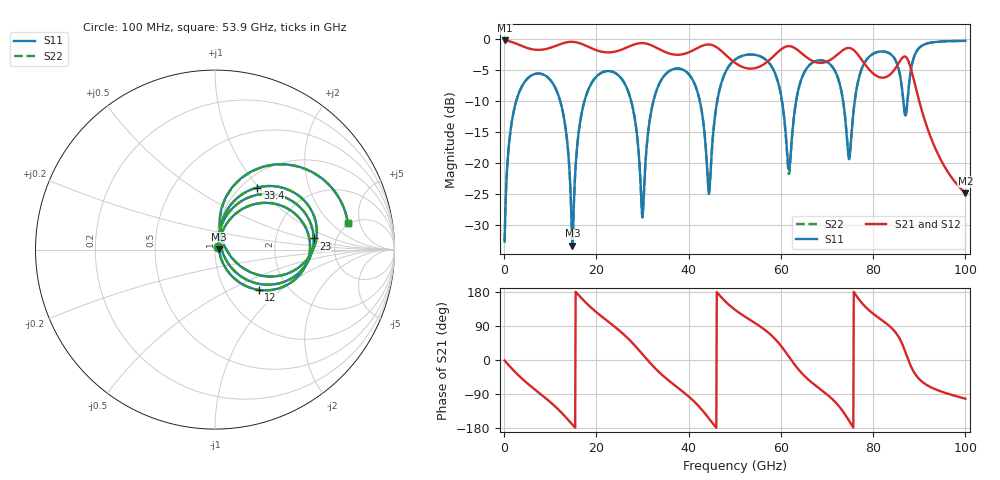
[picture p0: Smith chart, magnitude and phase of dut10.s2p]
! Touchstone file exported from HFSS 2026.1.0
!  File:  C:/ffzhzh/LocalFiles/Ansys_Project_Files/temp_train_TSV_RDL_10_1783612513_33328.aedt
!  Generated:  12:03:21 AM Jul 10, 2026
!  Design:  TSV_RDL
!  Project:  temp_train_TSV_RDL_10_1783612513_33328
! Variables:
!  h_bsmrdl = 4.39um
!  h_ox = 20um
!  h_rdl = 5um
!  h_sub = 86.47um
!  h_tmrdl = 3.33um
!  h_tsv = 86.47um
!  h_via = 3um
!  l_bsmrdl = 370.56um
!  l_sub = 3588.92um
!  l_tmrdl = 493.63um
!  m_sub = 200um
!  pitch = 54.68um
!  r_tsv = 14.75um
!  s_tmrdl = 10um
!  w_bsmrdl = 16.16um
!  w_sub = 500um
!  w_tmrdl = 18.08um
!  x_tsv_center1 = 502.67um
!  x_tsv_center2 = 889.39um
!  x_tsv_center3 = 1401.1um
!  x_tsv_center4 = 1787.82um
!  x_tsv_center5 = 2299.53um
!  x_tsv_center6 = 2686.25um
# GHz S MA R 50.000000
! Terminal data exported
! Port[1] = TM_RDL1_1_T1
! Port[2] = TM_RDL5_1_T1
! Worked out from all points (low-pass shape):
!   1000 points, 100 MHz to 100 GHz, reference 50 ohm
!   highest |S21| = -0.16 dB at 100 MHz (marker M1); lowest = -24.9 dB at 100 GHz (marker M2)
!   |S21| within 3 dB of the highest: start of sweep to 49.02 GHz; 57.75 GHz to 66.11 GHz (8.351 GHz wide, 13.5 % of centre) (the widest 2 of 4)
!   lowest |S11| = -33.4 dB at 14.8 GHz (marker M3), VSWR 1.04, Z = 52.2 + j0.252 ohm
!   |S11| at or under -10 dB: 12.16 GHz to 17.4 GHz (5.242 GHz wide, 35.5 % of centre); 27.55 GHz to 32.35 GHz (4.797 GHz wide, 16 % of centre); 42.43 GHz to 46.19 GHz (3.759 GHz wide, 8.48 % of centre) (the widest 3 of 7)
!   |S22| runs from -33.5 to -0.2 dB; largest |S21 - S12| = 6.4e-13
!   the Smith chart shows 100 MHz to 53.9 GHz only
!   S11 on the Smith chart (normalised r, x): 100 MHz: 1.04, +0.03; 12 GHz: 1.43, -0.72; 23 GHz: 3.36, +0.60; 33.4 GHz: 1.17, +0.98; 53.9 GHz: 4.80, +3.31
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0.1  0.02315 37.5  0.9819 -1.4  0.9819 -1.4  0.02315 37.5
! Gamma 0 0 0 0
! Port Impedance 50 0 50 0
3.6  0.4 40.5  0.8928 -46.2  0.8928 -46.2  0.4 40.5
12  0.3316 -42.6  0.9113 -133.7  0.9113 -133.7  0.3315 -42.6
14.8  0.02136 6.5  0.9573 -170.5  0.9573 -170.5  0.02122 6.6
16.8  0.2524 66.9  0.9206 162.8  0.9206 162.8  0.2525 66.9
23  0.5531 6.5  0.7867 97.1  0.7867 97.1  0.5532 6.5
27.5  0.3217 -36.9  0.8909 49.0  0.8909 49.0  0.3218 -36.9
30  0.03623 18.1  0.935 15.1  0.935 15.1  0.03642 18.0
33.4  0.4188 55.7  0.843 -29.8  0.843 -29.8  0.4188 55.7
40.8  0.4763 -12.2  0.8114 -104.9  0.8114 -104.9  0.4763 -12.1
44.4  0.05613 23.2  0.9114 -154.4  0.9114 -154.4  0.05765 23.3
50.1  0.6886 39.3  0.6458 132.1  0.6458 132.1  0.6887 39.1
53.9  0.7546 11.4  0.5818 101.3  0.5818 101.3  0.7546 11.1
59  0.5014 -30.9  0.769 52.0  0.769 52.0  0.5008 -31.5
61.7  0.08831 2.7  0.8833 9.3  0.8833 9.3  0.08168 2.0
66.7  0.6436 27.4  0.6747 -59.4  0.6747 -59.4  0.6432 27.9
72.5  0.471 -22.6  0.7687 -120.6  0.7687 -120.6  0.4718 -21.9
75.3  0.1677 58.4  0.843 -170.5  0.843 -170.5  0.1716 57.0
83.4  0.7773 3.8  0.5107 91.0  0.5107 91.0  0.7772 3.7
87.3  0.2793 36.7  0.7086 10.9  0.7086 10.9  0.2794 36.6
91.4  0.9207 17.0  0.21 -64.2  0.21 -64.2  0.9208 17.0
100  0.974 -14.9  0.05702 -102.2  0.05702 -102.2  0.9741 -14.9
